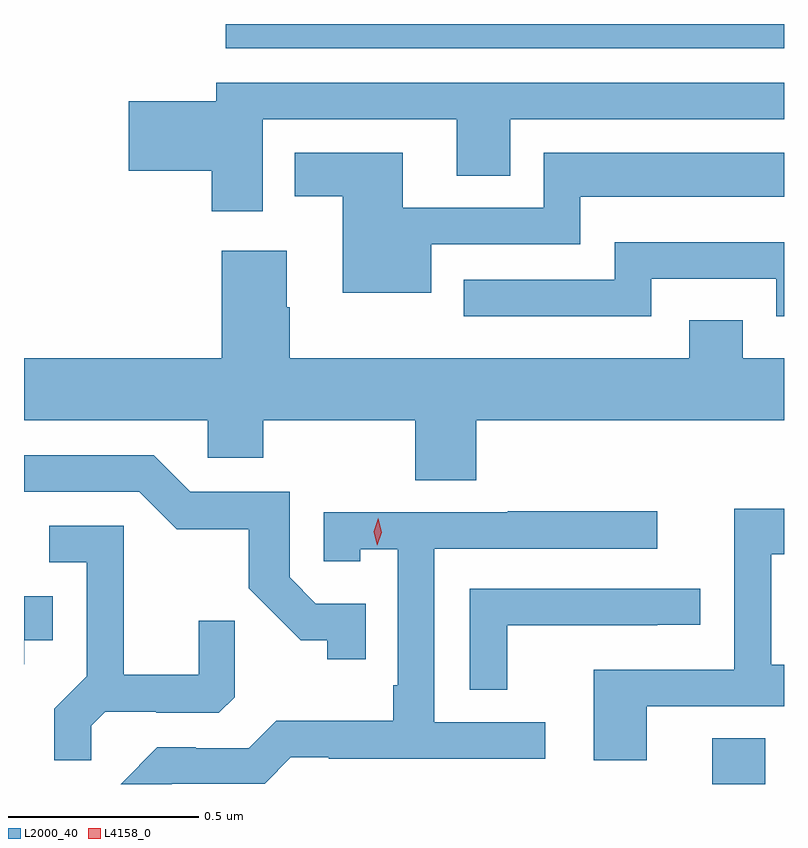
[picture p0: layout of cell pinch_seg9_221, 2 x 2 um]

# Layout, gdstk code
import gdstk
lib = gdstk.Library(unit=1e-6, precision=1e-09)
def R(c, l, rs):  # rectangles x0, y0, x1, y1
    for r in rs: c.add(gdstk.rectangle(r[:2], r[2:], *l))
def P(c, l, *ps):  # polygons
    for p in ps: c.add(gdstk.Polygon(p, *l))
L2000_40 = (2000, 40)
L4158_0 = (4158, 0)

pinch_seg9_221 = lib.new_cell('pinch_seg9_221')
R(pinch_seg9_221, L2000_40, [(617.549,1236.755,617.689,1236.875), (616.269,1238.691,617.738,1238.755)])
P(pinch_seg9_221, L2000_40, [(616.366,1238.505),(616.877,1238.505),(616.877,1238.356),(617.017,1238.356),(617.017,1238.505),(617.738,1238.505),(617.738,1238.601),(616.244,1238.601),(616.244,1238.552),(616.014,1238.552),(616.014,1238.369),(616.232,1238.369),(616.232,1238.262),(616.366,1238.262)],
  [(616.81,1238.175),(617.202,1238.175),(617.202,1238.3),(617.738,1238.3),(617.738,1238.416),(617.106,1238.416),(617.106,1238.271),(616.735,1238.271),(616.735,1238.416),(616.451,1238.416),(616.451,1238.302),(616.577,1238.302),(616.577,1238.048),(616.81,1238.048)],
  [(617.388,1238.085),(617.718,1238.085),(617.718,1237.986),(617.738,1237.986),(617.738,1238.181),(617.292,1238.181),(617.292,1238.082),(616.895,1238.082),(616.895,1237.986),(617.388,1237.986)],
  [(616.928,1237.712),(617.738,1237.712),(617.738,1237.876),(617.629,1237.876),(617.629,1237.975),(617.489,1237.975),(617.489,1237.876),(616.437,1237.876),(616.437,1238.009),(616.429,1238.009),(616.429,1238.158),(616.259,1238.158),(616.259,1237.876),(615.738,1237.876),(615.738,1237.712),(616.221,1237.712),(616.221,1237.614),(616.368,1237.614),(616.368,1237.712),(616.768,1237.712),(616.768,1237.555),(616.928,1237.555)],
  [(616.637,1237.23),(616.506,1237.23),(616.437,1237.299),(616.437,1237.524),(616.176,1237.524),(616.08,1237.62),(615.738,1237.62),(615.738,1237.524),(616.041,1237.524),(616.14,1237.426),(616.329,1237.426),(616.329,1237.27),(616.466,1237.133),(616.536,1237.133),(616.536,1237.083),(616.637,1237.083)],
  [(617.377,1236.96),(617.738,1236.96),(617.738,1237.069),(617.704,1237.069),(617.704,1237.36),(617.738,1237.36),(617.738,1237.48),(617.607,1237.48),(617.607,1237.056),(617.237,1237.056),(617.237,1236.817),(617.377,1236.817)],
  [(616.128,1236.756),(616.371,1236.756),(616.44,1236.825),(616.54,1236.825),(616.54,1236.822),(617.11,1236.822),(617.11,1236.918),(616.818,1236.918),(616.818,1237.374),(617.404,1237.374),(617.404,1237.473),(617.011,1237.473),(617.011,1237.47),(616.527,1237.47),(616.527,1237.341),(616.623,1237.341),(616.623,1237.373),(616.722,1237.373),(616.722,1237.015),(616.71,1237.015),(616.71,1236.922),(616.402,1236.922),(616.329,1236.849),(616.19,1236.849),(616.19,1236.852),(616.089,1236.852),(615.992,1236.755),(616.127,1236.755)],
  [(615.915,1236.908),(615.952,1236.945),(616.086,1236.945),(616.086,1236.942),(616.251,1236.942),(616.292,1236.983),(616.292,1237.185),(616.198,1237.185),(616.198,1237.042),(616.001,1237.042),(616.001,1237.434),(615.804,1237.434),(615.804,1237.338),(615.903,1237.338),(615.903,1237.039),(615.817,1236.953),(615.817,1236.817),(615.915,1236.817)],
  [(617.01,1237.173),(617.405,1237.173),(617.405,1237.174),(617.518,1237.174),(617.518,1237.269),(616.911,1237.269),(616.911,1237.003),(617.01,1237.003)],
  [(615.739,1237.133),(615.814,1237.133),(615.814,1237.249),(615.738,1237.249),(615.738,1237.07),(615.739,1237.07)])
P(pinch_seg9_221, L4158_0, [(616.667,1237.383),(616.667,1237.383),(616.659,1237.419),(616.67,1237.455),(616.67,1237.455),(616.67,1237.455),(616.679,1237.418),(616.668,1237.383)])

lib.write_gds('pinch_seg9_221.gds')
